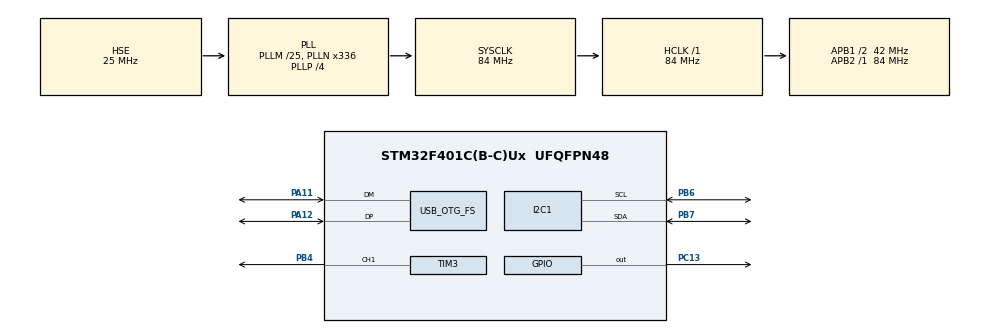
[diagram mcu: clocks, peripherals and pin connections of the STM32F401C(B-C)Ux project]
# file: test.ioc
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Dma.I2C1_TX.1.Direction=DMA_MEMORY_TO_PERIPH
Dma.I2C1_TX.1.FIFOMode=DMA_FIFOMODE_DISABLE
Dma.I2C1_TX.1.Instance=DMA1_Stream6
Dma.I2C1_TX.1.MemDataAlignment=DMA_MDATAALIGN_BYTE
Dma.I2C1_TX.1.MemInc=DMA_MINC_ENABLE
Dma.I2C1_TX.1.Mode=DMA_NORMAL
Dma.I2C1_TX.1.PeriphDataAlignment=DMA_PDATAALIGN_BYTE
Dma.I2C1_TX.1.PeriphInc=DMA_PINC_DISABLE
Dma.I2C1_TX.1.Priority=DMA_PRIORITY_LOW
Dma.Request0=TIM3_CH4/UP
Dma.Request1=I2C1_TX
Dma.TIM3_CH4/UP.0.Direction=DMA_MEMORY_TO_PERIPH
Dma.TIM3_CH4/UP.0.FIFOMode=DMA_FIFOMODE_DISABLE
Dma.TIM3_CH4/UP.0.Instance=DMA1_Stream2
Dma.TIM3_CH4/UP.0.MemDataAlignment=DMA_MDATAALIGN_HALFWORD
Dma.TIM3_CH4/UP.0.MemInc=DMA_MINC_ENABLE
Dma.TIM3_CH4/UP.0.Mode=DMA_NORMAL
Dma.TIM3_CH4/UP.0.PeriphDataAlignment=DMA_PDATAALIGN_HALFWORD
Dma.TIM3_CH4/UP.0.PeriphInc=DMA_PINC_DISABLE
Dma.TIM3_CH4/UP.0.Priority=DMA_PRIORITY_LOW
I2C1.DutyCycle=I2C_DUTYCYCLE_16_9
I2C1.I2C_Mode=I2C_Fast
Mcu.Family=STM32F4
Mcu.Name=STM32F401C(B-C)Ux
Mcu.Package=UFQFPN48
NVIC.DMA1_Stream2_IRQn=true\:0\:0\:false\:false\:true\:false\:true\:true
NVIC.DMA1_Stream6_IRQn=true\:0\:0\:false\:false\:true\:false\:true\:true
NVIC.I2C1_EV_IRQn=true\:0\:0\:false\:false\:true\:true\:true\:true
NVIC.OTG_FS_IRQn=true\:0\:0\:false\:false\:true\:false\:true\:true
NVIC.PriorityGroup=NVIC_PRIORITYGROUP_4
NVIC.TIM1_TRG_COM_TIM11_IRQn=true\:0\:0\:false\:false\:true\:true\:true\:true
PA11.Mode=Device_Only
PA11.Signal=USB_OTG_FS_DM
PA12.Mode=Device_Only
PA12.Signal=USB_OTG_FS_DP
PB4.Signal=S_TIM3_CH1
PB6.Mode=I2C
PB6.Signal=I2C1_SCL
PB7.Mode=I2C
PB7.Signal=I2C1_SDA
PC13-ANTI_TAMP.GPIO_Speed=GPIO_SPEED_FREQ_LOW
PC13-ANTI_TAMP.Signal=GPIO_Output
PH0\ -\ OSC_IN.Mode=HSE-External-Oscillator
PH0\ -\ OSC_IN.Signal=RCC_OSC_IN
PH1\ -\ OSC_OUT.Mode=HSE-External-Oscillator
PH1\ -\ OSC_OUT.Signal=RCC_OSC_OUT
ProjectManager.HeapSize=0x200
ProjectManager.StackSize=0x400
ProjectManager.TargetToolchain=MDK-ARM V5.32
RCC.48MHZClocksFreq_Value=48000000
RCC.AHBFreq_Value=84000000
RCC.APB1CLKDivider=RCC_HCLK_DIV2
RCC.APB1Freq_Value=42000000
RCC.APB1TimFreq_Value=84000000
RCC.APB2Freq_Value=84000000
RCC.APB2TimFreq_Value=84000000
RCC.CortexFreq_Value=84000000
RCC.HCLKFreq_Value=84000000
RCC.HSE_VALUE=25000000
RCC.HSI_VALUE=16000000
RCC.LSE_VALUE=32768
RCC.PLLM=25
RCC.PLLN=336
RCC.PLLP=RCC_PLLP_DIV4
RCC.PLLQ=7
RCC.SYSCLKFreq_VALUE=84000000
RCC.SYSCLKSource=RCC_SYSCLKSOURCE_PLLCLK
RCC.VCOOutputFreq_Value=336000000
SH.S_TIM3_CH1.0=TIM3_CH1,PWM Generation1 CH1
TIM11.Period=0xf
TIM11.Prescaler=0xff
TIM3.Channel-PWM\ Generation1\ CH1=TIM_CHANNEL_1
TIM3.Period=0x68
TIM3.Prescaler=0
TIM3.Pulse-PWM\ Generation1\ CH1=0
USB_DEVICE.CLASS_NAME_FS=CUSTOM_HID
USB_DEVICE.CONFIGURATION_STRING_CUSTOMHID_FS=SmX Custom HID Config
USB_DEVICE.MANUFACTURER_STRING=Simaksmic
USB_DEVICE.PRODUCT_STRING_CUSTOMHID_FS=SmX
USB_DEVICE.USBD_CUSTOMHID_OUTREPORT_BUF_SIZE=64
USB_DEVICE.USBD_CUSTOM_HID_REPORT_DESC_SIZE=79
USB_DEVICE.VirtualMode=CustomHid
USB_DEVICE.VirtualModeFS=Custom_Hid_FS
USB_OTG_FS.VirtualMode=Device_Only
VP_TIM11_VS_ClockSourceINT.Mode=Enable_Timer
VP_USB_DEVICE_VS_USB_DEVICE_CUSTOM_HID_FS.Mode=CUSTOM_HID_FS
board=custom

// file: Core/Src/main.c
/* USER CODE BEGIN Header */
/**
  ******************************************************************************
  * @file           : main.c
  * @brief          : Main program body
  ******************************************************************************
  * @attention
  *
  * Copyright (c) 2022 STMicroelectronics.
  * All rights reserved.
  *
  * This software is licensed under terms that can be found in the LICENSE file
  * in the root directory of this software component.
  * If no LICENSE file comes with this software, it is provided AS-IS.
  *
  ******************************************************************************
  */
/* USER CODE END Header */
#include "main.h"
#include "usb_device.h"

/* USER CODE BEGIN Includes */
#include "C:\projects\stm32\401\s32_401_ws2812\MDK-ARM\ws2812.h"
/* USER CODE END Includes */

/* USER CODE BEGIN PD */

#define ledCount 13
/* USER CODE END PD */

 I2C_HandleTypeDef hi2c1;
DMA_HandleTypeDef hdma_i2c1_tx;

TIM_HandleTypeDef htim3;
TIM_HandleTypeDef htim11;
DMA_HandleTypeDef hdma_tim3_ch4_up;

/* USER CODE BEGIN PV */
#define COLORS_COUNT	6
uint32_t colors[COLORS_COUNT] = {colorBLUE, colorCYAN, colorGREEN, colorORANGE, colorPINK, colorRED};
int colorIndex = 0;
int ledNo = 0;
int ledStep = 0;
_color clr;
/* USER CODE END PV */

void SystemClock_Config(void);
static void MX_GPIO_Init(void);
static void MX_TIM3_Init(void);
static void MX_DMA_Init(void);
static void MX_I2C1_Init(void);
static void MX_TIM11_Init(void);

/* USER CODE BEGIN 0 */

void led_process(){
	#define STEP_COUNT	14

	ws2812_setPixelColor(ledNo, getStepColor(colors[colorIndex], (colorIndex == COLORS_COUNT - 1)? colors[3]: colors[colorIndex + 1], ledStep, STEP_COUNT));

	if(++ledStep > STEP_COUNT){
		if(++ledNo == ledCount)	{
			if(++colorIndex == COLORS_COUNT){
				colorIndex = 3;
			}
			ledNo = 0;
		}
		ledStep = 1;
	}
	ws2812_show();

}
/* USER CODE END 0 */

int main(void)

{

  /* MCU Configuration--------------------------------------------------------*/

  /* Reset of all peripherals, Initializes the Flash interface and the Systick. */
  HAL_Init();

  /* USER CODE BEGIN Init */
	ws2812_init(ledCount, GRB);
	clr.pixelColor = 0;
  /* USER CODE END Init */

  /* Configure the system clock */
  SystemClock_Config();

  /* Initialize all configured peripherals */
  MX_GPIO_Init();
  MX_TIM3_Init();
  MX_DMA_Init();
  MX_I2C1_Init();
  MX_TIM11_Init();
  MX_USB_DEVICE_Init();
  /* USER CODE BEGIN 2 */

	TIM3->CCR1 = ZERO;
	TIM3->DIER = TIM_DIER_UDE;
	TIM3->CCER |= TIM_CCER_CC1E;
	TIM3->CR1 |= TIM_CR1_CEN;

	DMA1_Stream2->PAR  = (uint32_t) &TIM3->CCR1;
	DMA1_Stream2->CR = (5 << 25) + DMA_SxCR_MINC  + DMA_SxCR_DIR_0 /*+ DMA_SxCR_MSIZE_0 */+ DMA_SxCR_PSIZE_0;	//5 channel selected  //add MINC, DIR = 1, MSIZE = 1, PSIZE = 1
	TIM11->DIER = TIM_DIER_UIE;
	TIM11->CR1 |= TIM_CR1_CEN;

  /* USER CODE END 2 */

  /* Infinite loop */
  while (1)
  {

  }
}

void SystemClock_Config(void)
{
  RCC_OscInitTypeDef RCC_OscInitStruct = {0};
  RCC_ClkInitTypeDef RCC_ClkInitStruct = {0};

  /** Configure the main internal regulator output voltage
  */
  __HAL_RCC_PWR_CLK_ENABLE();
  __HAL_PWR_VOLTAGESCALING_CONFIG(PWR_REGULATOR_VOLTAGE_SCALE2);

  /** Initializes the RCC Oscillators according to the specified parameters
  * in the RCC_OscInitTypeDef structure.
  */
  RCC_OscInitStruct.OscillatorType = RCC_OSCILLATORTYPE_HSE;
  RCC_OscInitStruct.HSEState = RCC_HSE_ON;
  RCC_OscInitStruct.PLL.PLLState = RCC_PLL_ON;
  RCC_OscInitStruct.PLL.PLLSource = RCC_PLLSOURCE_HSE;
  RCC_OscInitStruct.PLL.PLLM = 25;
  RCC_OscInitStruct.PLL.PLLN = 336;
  RCC_OscInitStruct.PLL.PLLP = RCC_PLLP_DIV4;
  RCC_OscInitStruct.PLL.PLLQ = 7;
  if (HAL_RCC_OscConfig(&RCC_OscInitStruct) != HAL_OK)
  {
    Error_Handler();
  }

  /** Initializes the CPU, AHB and APB buses clocks
  */
  RCC_ClkInitStruct.ClockType = RCC_CLOCKTYPE_HCLK|RCC_CLOCKTYPE_SYSCLK
                              |RCC_CLOCKTYPE_PCLK1|RCC_CLOCKTYPE_PCLK2;
  RCC_ClkInitStruct.SYSCLKSource = RCC_SYSCLKSOURCE_PLLCLK;
  RCC_ClkInitStruct.AHBCLKDivider = RCC_SYSCLK_DIV1;
  RCC_ClkInitStruct.APB1CLKDivider = RCC_HCLK_DIV2;
  RCC_ClkInitStruct.APB2CLKDivider = RCC_HCLK_DIV1;

  if (HAL_RCC_ClockConfig(&RCC_ClkInitStruct, FLASH_LATENCY_2) != HAL_OK)
  {
    Error_Handler();
  }
}

static void MX_I2C1_Init(void)
{

  hi2c1.Instance = I2C1;
  hi2c1.Init.ClockSpeed = 400000;
  hi2c1.Init.DutyCycle = I2C_DUTYCYCLE_16_9;
  hi2c1.Init.OwnAddress1 = 0;
  hi2c1.Init.AddressingMode = I2C_ADDRESSINGMODE_7BIT;
  hi2c1.Init.DualAddressMode = I2C_DUALADDRESS_DISABLE;
  hi2c1.Init.OwnAddress2 = 0;
  hi2c1.Init.GeneralCallMode = I2C_GENERALCALL_DISABLE;
  hi2c1.Init.NoStretchMode = I2C_NOSTRETCH_DISABLE;
  if (HAL_I2C_Init(&hi2c1) != HAL_OK)
  {
    Error_Handler();
  }

}

static void MX_TIM3_Init(void)
{

  TIM_MasterConfigTypeDef sMasterConfig = {0};
  TIM_OC_InitTypeDef sConfigOC = {0};

  htim3.Instance = TIM3;
  htim3.Init.Prescaler = 0;
  htim3.Init.CounterMode = TIM_COUNTERMODE_UP;
  htim3.Init.Period = 0x68;
  htim3.Init.ClockDivision = TIM_CLOCKDIVISION_DIV1;
  htim3.Init.AutoReloadPreload = TIM_AUTORELOAD_PRELOAD_DISABLE;
  if (HAL_TIM_PWM_Init(&htim3) != HAL_OK)
  {
    Error_Handler();
  }
  sMasterConfig.MasterOutputTrigger = TIM_TRGO_RESET;
  sMasterConfig.MasterSlaveMode = TIM_MASTERSLAVEMODE_DISABLE;
  if (HAL_TIMEx_MasterConfigSynchronization(&htim3, &sMasterConfig) != HAL_OK)
  {
    Error_Handler();
  }
  sConfigOC.OCMode = TIM_OCMODE_PWM1;
  sConfigOC.Pulse = 0;
  sConfigOC.OCPolarity = TIM_OCPOLARITY_HIGH;
  sConfigOC.OCFastMode = TIM_OCFAST_DISABLE;
  if (HAL_TIM_PWM_ConfigChannel(&htim3, &sConfigOC, TIM_CHANNEL_1) != HAL_OK)
  {
    Error_Handler();
  }
  HAL_TIM_MspPostInit(&htim3);

}

static void MX_TIM11_Init(void)
{

  htim11.Instance = TIM11;
  htim11.Init.Prescaler = 0xff;
  htim11.Init.CounterMode = TIM_COUNTERMODE_UP;
  htim11.Init.Period = 0xf;
  htim11.Init.ClockDivision = TIM_CLOCKDIVISION_DIV1;
  htim11.Init.AutoReloadPreload = TIM_AUTORELOAD_PRELOAD_DISABLE;
  if (HAL_TIM_Base_Init(&htim11) != HAL_OK)
  {
    Error_Handler();
  }

}

static void MX_DMA_Init(void)
{

  /* DMA controller clock enable */
  __HAL_RCC_DMA1_CLK_ENABLE();

  /* DMA interrupt init */
  /* DMA1_Stream2_IRQn interrupt configuration */
  HAL_NVIC_SetPriority(DMA1_Stream2_IRQn, 0, 0);
  HAL_NVIC_EnableIRQ(DMA1_Stream2_IRQn);
  /* DMA1_Stream6_IRQn interrupt configuration */
  HAL_NVIC_SetPriority(DMA1_Stream6_IRQn, 0, 0);
  HAL_NVIC_EnableIRQ(DMA1_Stream6_IRQn);

}

static void MX_GPIO_Init(void)
{
  GPIO_InitTypeDef GPIO_InitStruct = {0};

  /* GPIO Ports Clock Enable */
  __HAL_RCC_GPIOC_CLK_ENABLE();
  __HAL_RCC_GPIOH_CLK_ENABLE();
  __HAL_RCC_GPIOA_CLK_ENABLE();
  __HAL_RCC_GPIOB_CLK_ENABLE();

  /*Configure GPIO pin Output Level */
  HAL_GPIO_WritePin(GPIOC, GPIO_PIN_13, GPIO_PIN_RESET);

  /*Configure GPIO pin : PC13 */
  GPIO_InitStruct.Pin = GPIO_PIN_13;
  GPIO_InitStruct.Mode = GPIO_MODE_OUTPUT_PP;
  GPIO_InitStruct.Pull = GPIO_NOPULL;
  GPIO_InitStruct.Speed = GPIO_SPEED_FREQ_LOW;
  HAL_GPIO_Init(GPIOC, &GPIO_InitStruct);

}

void Error_Handler(void)
{
  __disable_irq();
  while (1)
  {
  }
}
